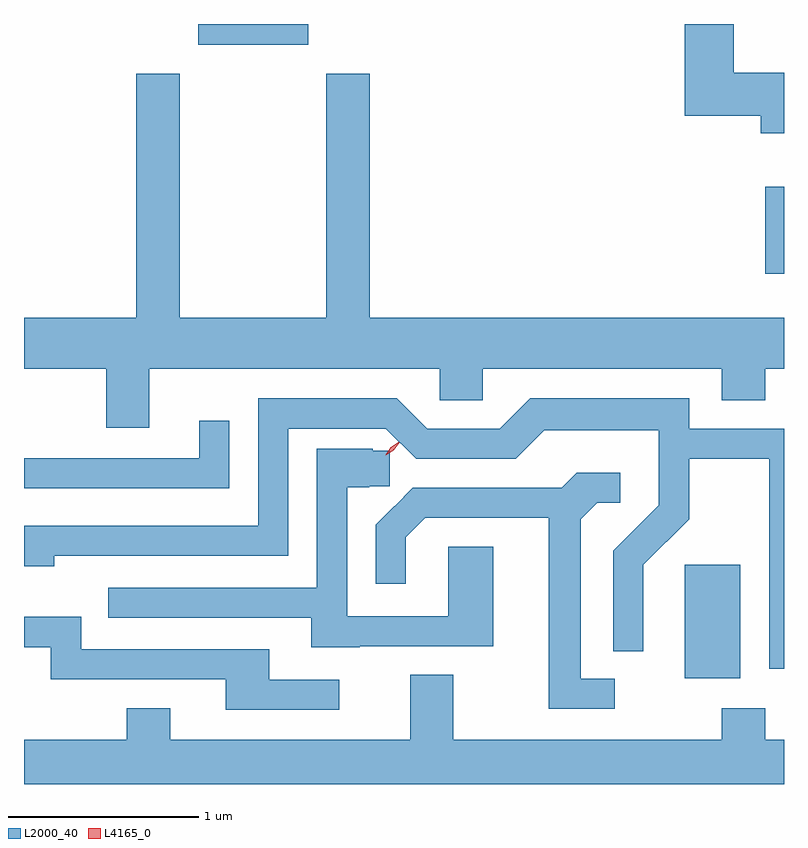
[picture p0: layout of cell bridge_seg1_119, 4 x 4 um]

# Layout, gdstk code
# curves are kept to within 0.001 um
import gdstk
lib = gdstk.Library(unit=1e-6, precision=1e-09)
def R(c, l, rs):  # rectangles x0, y0, x1, y1
    for r in rs: c.add(gdstk.rectangle(r[:2], r[2:], *l))
def P(c, l, *ps):  # polygons
    for p in ps: c.add(gdstk.Polygon(p, *l))
L2000_40 = (2000, 40)
L4165_0 = (4165, 0)

bridge_seg1_119 = lib.new_cell('bridge_seg1_119')
R(bridge_seg1_119, L2000_40, [(1284.566,966.766,1284.859,967.364), (1284.991,968.896,1285.089,969.354), (1282.006,970.101,1282.584,970.21)])
P(bridge_seg1_119, L2000_40, [(1285.089,969.954),(1284.824,969.954),(1284.824,970.21),(1284.566,970.21),(1284.566,969.726),(1284.966,969.726),(1284.966,969.636),(1285.089,969.636)],
  [(1281.749,968.396),(1283.276,968.396),(1283.276,968.231),(1283.504,968.231),(1283.504,968.396),(1284.761,968.396),(1284.761,968.231),(1284.989,968.231),(1284.989,968.396),(1285.089,968.396),(1285.089,968.664),(1282.909,968.664),(1282.909,969.949),(1282.681,969.949),(1282.681,968.664),(1281.909,968.664),(1281.909,969.949),(1281.681,969.949),(1281.681,968.664),(1281.089,968.664),(1281.089,968.396),(1281.521,968.396),(1281.521,968.086),(1281.749,968.086)],
  [(1285.089,968.079),(1284.589,968.079),(1284.589,968.239),(1283.754,968.239),(1283.594,968.079),(1283.212,968.079),(1283.052,968.239),(1282.321,968.239),(1282.321,967.569),(1281.089,967.569),(1281.089,967.356),(1281.249,967.356),(1281.249,967.411),(1282.479,967.411),(1282.479,968.081),(1282.993,968.081),(1283.153,967.921),(1283.677,967.921),(1283.827,968.071),(1284.431,968.071),(1284.431,967.677),(1284.191,967.437),(1284.191,966.908),(1284.349,966.908),(1284.349,967.364),(1284.589,967.604),(1284.589,967.921),(1285.011,967.921),(1285.011,966.816),(1285.089,966.816)],
  [(1282.169,968.123),(1282.011,968.123),(1282.011,967.924),(1281.089,967.924),(1281.089,967.766),(1282.169,967.766)],
  [(1282.855,966.936),(1283.559,966.936),(1283.559,967.459),(1283.321,967.459),(1283.321,967.094),(1282.789,967.094),(1282.789,967.771),(1282.905,967.771),(1282.905,967.778),(1283.015,967.778),(1283.015,967.965),(1282.925,967.965),(1282.925,967.975),(1282.631,967.975),(1282.631,967.244),(1281.533,967.244),(1281.533,967.086),(1282.601,967.086),(1282.601,966.931),(1282.855,966.931)],
  [(1284.198,966.764),(1284.019,966.764),(1284.019,967.604),(1284.107,967.691),(1284.228,967.691),(1284.228,967.849),(1283.999,967.849),(1283.919,967.769),(1283.136,967.769),(1282.941,967.575),(1282.941,967.263),(1283.099,967.263),(1283.099,967.509),(1283.202,967.611),(1283.851,967.611),(1283.851,966.606),(1284.198,966.606)],
  [(1282.748,966.759),(1282.379,966.759),(1282.379,966.919),(1281.389,966.919),(1281.389,967.089),(1281.089,967.089),(1281.089,966.931),(1281.231,966.931),(1281.231,966.761),(1282.151,966.761),(1282.151,966.601),(1282.748,966.601)],
  [(1285.089,966.444),(1284.989,966.444),(1284.989,966.609),(1284.761,966.609),(1284.761,966.444),(1283.349,966.444),(1283.349,966.784),(1283.121,966.784),(1283.121,966.444),(1281.859,966.444),(1281.859,966.609),(1281.631,966.609),(1281.631,966.444),(1281.089,966.444),(1281.089,966.21),(1285.089,966.21)])
P(bridge_seg1_119, L4165_0, [(1282.993,967.941),(1282.993,967.942),(1283.021,967.981),(1283.062,968.008),(1283.063,968.008),(1283.063,968.007),(1283.035,967.967),(1282.994,967.941)],
  [(1282.994,967.943),(1282.994,967.944),(1283.02,967.982),(1283.059,968.008),(1283.06,968.008),(1283.06,968.007),(1283.034,967.968),(1282.995,967.943)])

lib.write_gds('bridge_seg1_119.gds')
